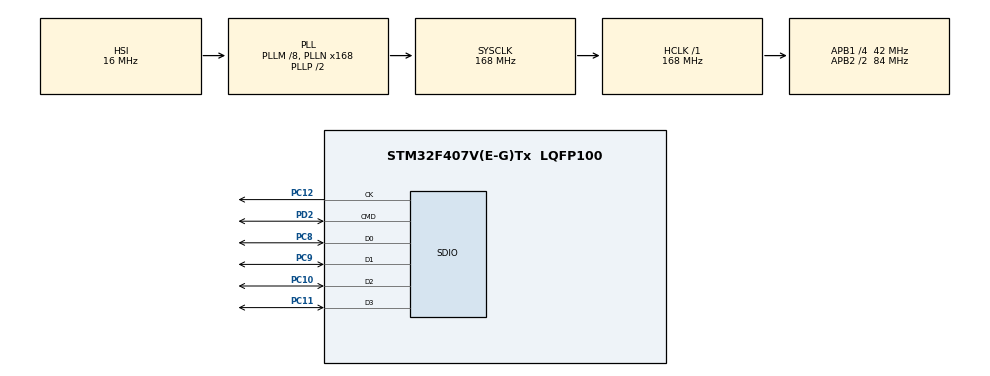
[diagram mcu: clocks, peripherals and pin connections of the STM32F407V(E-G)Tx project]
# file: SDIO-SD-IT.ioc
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Mcu.Family=STM32F4
Mcu.Name=STM32F407V(E-G)Tx
Mcu.Package=LQFP100
NVIC.PriorityGroup=NVIC_PRIORITYGROUP_4
NVIC.SDIO_IRQn=true\:0\:0\:false\:false\:true\:true\:true
PC10.Mode=SD_4_bits_Wide_bus
PC10.Signal=SDIO_D2
PC11.Mode=SD_4_bits_Wide_bus
PC11.Signal=SDIO_D3
PC12.Mode=SD_4_bits_Wide_bus
PC12.Signal=SDIO_CK
PC8.Mode=SD_4_bits_Wide_bus
PC8.Signal=SDIO_D0
PC9.Mode=SD_4_bits_Wide_bus
PC9.Signal=SDIO_D1
PD2.Mode=SD_4_bits_Wide_bus
PD2.Signal=SDIO_CMD
ProjectManager.HeapSize=0x200
ProjectManager.StackSize=0x400
ProjectManager.TargetToolchain=MDK-ARM V5.27
RCC.48MHZClocksFreq_Value=48000000
RCC.AHBFreq_Value=168000000
RCC.APB1CLKDivider=RCC_HCLK_DIV4
RCC.APB1Freq_Value=42000000
RCC.APB1TimFreq_Value=84000000
RCC.APB2CLKDivider=RCC_HCLK_DIV2
RCC.APB2Freq_Value=84000000
RCC.APB2TimFreq_Value=168000000
RCC.CortexFreq_Value=168000000
RCC.HCLKFreq_Value=168000000
RCC.HSE_VALUE=25000000
RCC.HSI_VALUE=16000000
RCC.LSE_VALUE=32768
RCC.PLLM=8
RCC.PLLN=168
RCC.PLLQ=7
RCC.SYSCLKFreq_VALUE=168000000
RCC.SYSCLKSource=RCC_SYSCLKSOURCE_PLLCLK
RCC.VCOOutputFreq_Value=336000000
SDIO.ClockDiv=6
board=custom

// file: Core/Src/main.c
/* USER CODE BEGIN Header */
/**
  ******************************************************************************
  * @file           : main.c
  * @brief          : Main program body
  ******************************************************************************
  * @attention
  *
  * <h2><center>&copy; Copyright (c) 2024 STMicroelectronics.
  * All rights reserved.</center></h2>
  *
  * This software component is licensed by ST under BSD 3-Clause license,
  * the "License"; You may not use this file except in compliance with the
  * License. You may obtain a copy of the License at:
  *                        opensource.org/licenses/BSD-3-Clause
  *
  ******************************************************************************
  */
/* USER CODE END Header */
#include "main.h"
#include "sdio.h"
#include "gpio.h"

/* USER CODE BEGIN Includes */
#include "ALCD.h"
/* USER CODE END Includes */

/* USER CODE BEGIN PD */
#define BLK_SIZE        512
/* USER CODE END PD */

/* USER CODE BEGIN PV */
static const char TEMPLATE[BLK_SIZE] = "Block Interrupt";

static char buff[BLK_SIZE] = {0};

static uint8_t txFlag    = 0;
static uint8_t rxFlag    = 0;
static uint8_t rxDisplay = 0;
/* USER CODE END PV */

void SystemClock_Config(void);

int main(void)
{

  /* MCU Configuration--------------------------------------------------------*/

  /* Reset of all peripherals, Initializes the Flash interface and the Systick. */
  HAL_Init();

  /* Configure the system clock */
  SystemClock_Config();

  /* Initialize all configured peripherals */
  MX_GPIO_Init();
  MX_SDIO_SD_Init();
  /* USER CODE BEGIN 2 */
  ALCD_init(16, 2);
  ALCD_clear();

  /* USER CODE END 2 */

  /* Infinite loop */
  /* USER CODE BEGIN WHILE */
  txFlag = 1;
  while (1)
  {
    // Write Block
    if (txFlag && HAL_SD_GetCardState(&hsd) == HAL_SD_CARD_TRANSFER) {
      txFlag = 0;
      if (HAL_SD_WriteBlocks_IT(&hsd, (uint8_t*) TEMPLATE, 0, sizeof(TEMPLATE) / BLK_SIZE) != HAL_OK) {
        ALCD_putsXY(0, 1, "Write Failed!");
        Error_Handler();
      }
    }

    // Read Block
    if (rxFlag && HAL_SD_GetCardState(&hsd) == HAL_SD_CARD_TRANSFER) {
      rxFlag = 0;
      if (HAL_SD_ReadBlocks_IT(&hsd, (uint8_t*) buff, 0, sizeof(buff) / BLK_SIZE) != HAL_OK) {
        ALCD_putsXY(0, 1, "Read Failed!");
        Error_Handler();
      }
    }

    // Print Read Block
    if (rxDisplay) {
      rxDisplay = 0;
      ALCD_putsXY(0, 0, buff);
    }

    /* USER CODE END WHILE */

  }
}

void SystemClock_Config(void)
{
  RCC_OscInitTypeDef RCC_OscInitStruct = {0};
  RCC_ClkInitTypeDef RCC_ClkInitStruct = {0};

  /** Configure the main internal regulator output voltage
  */
  __HAL_RCC_PWR_CLK_ENABLE();
  __HAL_PWR_VOLTAGESCALING_CONFIG(PWR_REGULATOR_VOLTAGE_SCALE1);
  /** Initializes the RCC Oscillators according to the specified parameters
  * in the RCC_OscInitTypeDef structure.
  */
  RCC_OscInitStruct.OscillatorType = RCC_OSCILLATORTYPE_HSI;
  RCC_OscInitStruct.HSIState = RCC_HSI_ON;
  RCC_OscInitStruct.HSICalibrationValue = RCC_HSICALIBRATION_DEFAULT;
  RCC_OscInitStruct.PLL.PLLState = RCC_PLL_ON;
  RCC_OscInitStruct.PLL.PLLSource = RCC_PLLSOURCE_HSI;
  RCC_OscInitStruct.PLL.PLLM = 8;
  RCC_OscInitStruct.PLL.PLLN = 168;
  RCC_OscInitStruct.PLL.PLLP = RCC_PLLP_DIV2;
  RCC_OscInitStruct.PLL.PLLQ = 7;
  if (HAL_RCC_OscConfig(&RCC_OscInitStruct) != HAL_OK)
  {
    Error_Handler();
  }
  /** Initializes the CPU, AHB and APB buses clocks
  */
  RCC_ClkInitStruct.ClockType = RCC_CLOCKTYPE_HCLK|RCC_CLOCKTYPE_SYSCLK
                              |RCC_CLOCKTYPE_PCLK1|RCC_CLOCKTYPE_PCLK2;
  RCC_ClkInitStruct.SYSCLKSource = RCC_SYSCLKSOURCE_PLLCLK;
  RCC_ClkInitStruct.AHBCLKDivider = RCC_SYSCLK_DIV1;
  RCC_ClkInitStruct.APB1CLKDivider = RCC_HCLK_DIV4;
  RCC_ClkInitStruct.APB2CLKDivider = RCC_HCLK_DIV2;

  if (HAL_RCC_ClockConfig(&RCC_ClkInitStruct, FLASH_LATENCY_5) != HAL_OK)
  {
    Error_Handler();
  }
}

/* USER CODE BEGIN 4 */
void HAL_SD_TxCpltCallback(SD_HandleTypeDef* hsd) {
  rxFlag = 1;
}
void HAL_SD_RxCpltCallback(SD_HandleTypeDef* hsd) {
  rxDisplay = 1;
}
/* USER CODE END 4 */

void Error_Handler(void)
{
  __disable_irq();
  while (1)
  {
  }
}

/************************ (C) COPYRIGHT STMicroelectronics *****END OF FILE****/
